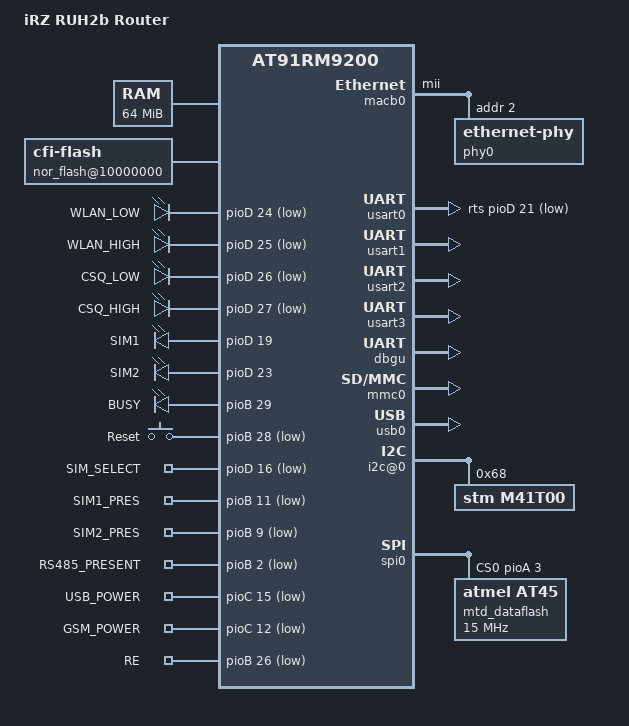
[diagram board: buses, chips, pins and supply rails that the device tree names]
/*
 * irz-ruh2b.dts - Device Tree file for irz ruh2b router board
 *
 *  Copyright (C) 2016 Nikita Nazarenko <nnazarenko@radiofid.com>
 *  based on 2012 Joachim Eastwood <manabian@gmail.com>
 *
 * Licensed under GPLv2 only
 */
/dts-v1/;
#include "at91rm9200.dtsi"

/ {
	model = "iRZ RUH2b Router";
	compatible = "irz,ruh2b", "atmel,at91rm9200";

	chosen {
		stdout-path = "serial0:115200n8";
	};

	memory {
		reg = <0x20000000 0x4000000>;
	};

	clocks {
		slow_xtal {
			clock-frequency = <32768>;
		};

		main_xtal {
			clock-frequency = <18432000>;
		};
	};

	ahb {
		apb {

			macb0: ethernet@fffbc000 {
				compatible = "cdns,at91rm9200-emac";
				phy-mode = "mii";
				status = "okay";
				pinctrl-0 = <&pinctrl_macb_rmii_mii &pinctrl_macb_rmii>;
				phy0: ethernet-phy {
				    reg = <2>;
				};
			};
			
			usart0: serial@fffc0000 {
				pinctrl-0 =
						<&pinctrl_uart0>;
				rts-gpios = <&pioD 21 GPIO_ACTIVE_LOW>;
				cts-gpios = <&pioD 20 GPIO_ACTIVE_LOW>;
				status = "okay";
			};
			
			usart1: serial@fffc4000 {
				pinctrl-0 =
						<&pinctrl_uart1 >;
				linux,rs485-enabled-at-boot-time;
				status = "okay";
			};
			usart2: serial@fffc8000 {
				pinctrl-0 =
						<&pinctrl_uart2>;
				status = "okay";
			};
			usart3: serial@fffcc000 {
				pinctrl-0 =
						<&pinctrl_uart3>;
				status = "okay";
			};
			dbgu: serial@fffff200 {
				pinctrl-0 = <&pinctrl_dbgu>;
				status = "okay";
			};

			rtc: rtc@fffffe00 {
				status = "disabled";
			};
			mmc0: mmc@fffb4000 {
				status = "okay";
				pinctrl-names = "default";
				pinctrl-0 = <&pinctrl_mmc0_clk &pinctrl_mmc0_slot0_cmd_dat0 &pinctrl_mmc0_slot0_dat1_3>;
				slot@0 {
				    reg = <0>;
				    bus-width = <4>;
				    cd-gpios = <&pioA 24 0>;
				    cd-inverted;
				};
			};
		};

		usb0: ohci@00300000 {
			num-ports = <2>;
			status = "okay";
		};

		nor_flash@10000000 {
			compatible = "cfi-flash";
			reg = <0x10000000 0x800000>;
			linux,mtd-name = "physmap-flash.0";
			bank-width = <2>;
			#address-cells = <1>;
			#size-cells = <1>;

			boot@0 {
				label = "boot";
				reg = <0x00000 0x4000>;
			};
			settings@4000 {
				label = "settings";
				reg = <0x4000 0x8000>;
			};
			hwinfo@c000 {
				label = "hwinfo";
				reg = <0xC000 0x2000>;
			};
			nv@e000 {
				label = "nv";
				reg = <0xE000 0x2000>;
			};
			uboot@10000 {
				label = "u-boot";
				reg = <0x10000 0x10000>;
			};
			kernel@20000 {
				label = "kernel";
				reg = <0x20000 0x160000>;
			};
			rwfs@170000  {
				label = "rwfs";
				reg = <0x180000 0x180000>;
			};
			root@2f0000  {
				label = "root";
				reg = <0x300000 0x500000>;
			};
		};
	};

	leds {
		compatible = "gpio-leds";

		wlan_red {
			label = "WLAN_LOW";
			gpios = <&pioD 24 GPIO_ACTIVE_LOW>;
			linux,default-trigger = "none";
		};

		wlan_yellow {
			label = "WLAN_HIGH";
			gpios = <&pioD 25 GPIO_ACTIVE_LOW>;
			linux,default-trigger = "none";
		};

		csq_red {
			label = "CSQ_LOW";
			gpios = <&pioD 26 GPIO_ACTIVE_LOW>;
			linux,default-trigger = "none";
		};

		csq_yellow {
			label = "CSQ_HIGH";
			gpios = <&pioD 27 GPIO_ACTIVE_LOW>;
			linux,default-trigger = "none";
		};

		sim1 {
			label = "SIM1";
			gpios = <&pioD 19 GPIO_ACTIVE_HIGH>;
			linux,default-trigger = "none";
		};

		sim2 {
			label = "SIM2";
			gpios = <&pioD 23 GPIO_ACTIVE_HIGH>;
			linux,default-trigger = "none";
		};

		busy {
			label = "BUSY";
			gpios = <&pioB 29 GPIO_ACTIVE_HIGH>;
			linux,default-trigger = "timer";
		};
	};
	gpio_keys {
		compatible = "gpio-keys";
		#address-cells = <1>;
		#size-cells = <0>;
		autorepeat;

		USER1 {
			label = "Reset";
			linux,code = < 0x100 >;
			gpios = <&pioB 28 GPIO_ACTIVE_LOW>;
		};
	};
	gpios {
		compatible = "gpio-export";
		simsel {
		    gpios = <&pioD 16 GPIO_ACTIVE_LOW>;
		    gpio-export,name  = "SIM_SELECT";
		    gpio-export,output = <0>;
		};
		SIM1_PRES {
		    gpios = <&pioB 11 GPIO_ACTIVE_LOW>;
		    gpio-export,name  = "SIM1_PRES";
		};

		SIM2_PRES {
		    gpios = <&pioB 9 GPIO_ACTIVE_LOW>;
		    gpio-export,name  = "SIM2_PRES";
		};

		RS485_PRES {
		    gpios = <&pioB 2 GPIO_ACTIVE_LOW>;
		    gpio-export,name  = "RS485_PRESENT";
		};

		USB_POWER {
		    gpios = <&pioC 15 GPIO_ACTIVE_LOW>;
		    gpio-export,name  = "USB_POWER";
		    gpio-export,output = <1>;
		};
		GSM_POWER {
		    gpios = <&pioC 12 GPIO_ACTIVE_LOW>;
		    gpio-export,name  = "GSM_POWER";
		    gpio-export,output = <0>;
		};
		RE {
		    gpios = <&pioB 26 GPIO_ACTIVE_LOW>;
		    gpio-export,name  = "RE";
		    gpio-export,output = <1>;
		};
	};
	i2c@0 {	
		status = "okay";
		m41t00: m41t00@68 {
		compatible = "stm,m41t00";
		reg = < 0x68 >;
		};
	};
};

&spi0 {
	status = "okay";
	cs-gpios = <&pioA 3 0>, <0>, <0>, <0>;
	mtd_dataflash@0 {
		compatible = "atmel,at45", "atmel,dataflash";
		spi-max-frequency = <15000000>;
		reg = <0>;
	};
};


